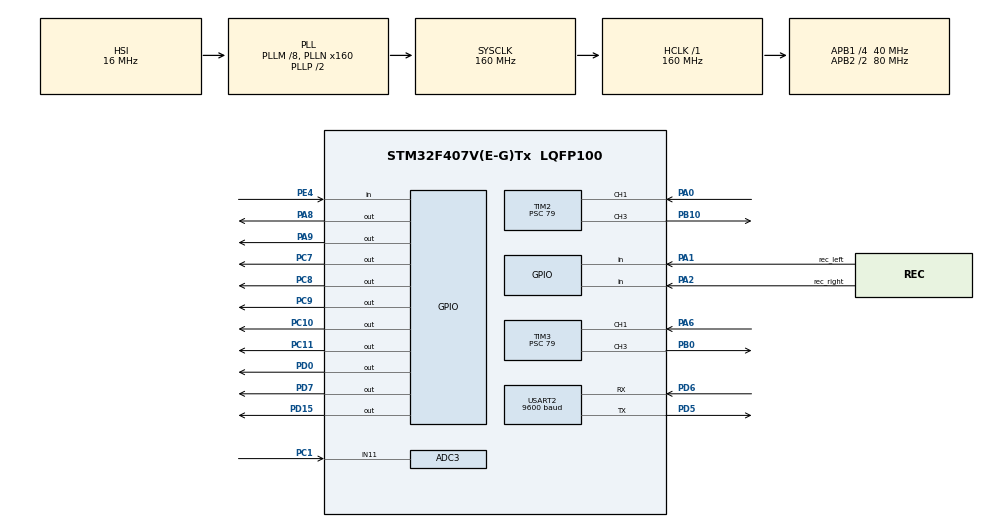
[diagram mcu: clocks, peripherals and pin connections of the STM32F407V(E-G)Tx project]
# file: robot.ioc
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ADC3.Channel-2\#ChannelRegularConversion=ADC_CHANNEL_11
ADC3.ClockPrescaler=ADC_CLOCK_SYNC_PCLK_DIV4
ADC3.ContinuousConvMode=ENABLE
ADC3.DMAContinuousRequests=DISABLE
ADC3.NbrOfConversionFlag=1
ADC3.Rank-2\#ChannelRegularConversion=1
ADC3.SamplingTime-2\#ChannelRegularConversion=ADC_SAMPLETIME_480CYCLES
ADC3.ScanConvMode=ENABLE
Dma.ADC3.0.Direction=DMA_PERIPH_TO_MEMORY
Dma.ADC3.0.FIFOMode=DMA_FIFOMODE_DISABLE
Dma.ADC3.0.Instance=DMA2_Stream1
Dma.ADC3.0.MemDataAlignment=DMA_MDATAALIGN_HALFWORD
Dma.ADC3.0.MemInc=DMA_MINC_ENABLE
Dma.ADC3.0.Mode=DMA_CIRCULAR
Dma.ADC3.0.PeriphDataAlignment=DMA_PDATAALIGN_HALFWORD
Dma.ADC3.0.PeriphInc=DMA_PINC_DISABLE
Dma.ADC3.0.Priority=DMA_PRIORITY_LOW
Dma.Request0=ADC3
Mcu.Family=STM32F4
Mcu.Name=STM32F407V(E-G)Tx
Mcu.Package=LQFP100
NVIC.DMA2_Stream1_IRQn=true\:0\:0\:false\:false\:true\:false\:true\:true
NVIC.PriorityGroup=NVIC_PRIORITYGROUP_4
NVIC.TIM1_UP_TIM10_IRQn=true\:2\:0\:true\:false\:true\:true\:true\:true
NVIC.USART2_IRQn=true\:3\:0\:true\:false\:true\:true\:true\:true
PA0-WKUP.Signal=S_TIM2_CH1_ETR
PA1.GPIO_Label=rec_left
PA1.Signal=GPIO_Input
PA13.Mode=Serial_Wire
PA13.Signal=SYS_JTMS-SWDIO
PA14.Mode=Serial_Wire
PA14.Signal=SYS_JTCK-SWCLK
PA2.GPIO_Label=rec_right
PA2.Signal=GPIO_Input
PA6.Signal=S_TIM3_CH1
PA8.Signal=GPIO_Output
PA9.Signal=GPIO_Output
PB0.Signal=S_TIM3_CH3
PB10.Signal=S_TIM2_CH3
PC1.Signal=ADCx_IN11
PC10.Signal=GPIO_Output
PC11.Signal=GPIO_Output
PC7.Signal=GPIO_Output
PC8.Signal=GPIO_Output
PC9.Signal=GPIO_Output
PD0.Signal=GPIO_Output
PD15.Signal=GPIO_Output
PD5.Mode=Asynchronous
PD5.Signal=USART2_TX
PD6.Mode=Asynchronous
PD6.Signal=USART2_RX
PD7.Signal=GPIO_Output
PE4.Signal=GPIO_Input
PH0-OSC_IN.Mode=HSE-External-Oscillator
PH0-OSC_IN.Signal=RCC_OSC_IN
PH1-OSC_OUT.Mode=HSE-External-Oscillator
PH1-OSC_OUT.Signal=RCC_OSC_OUT
ProjectManager.HeapSize=0x200
ProjectManager.StackSize=0x400
ProjectManager.TargetToolchain=STM32CubeIDE
RCC.48MHZClocksFreq_Value=80000000
RCC.AHBFreq_Value=160000000
RCC.APB1CLKDivider=RCC_HCLK_DIV4
RCC.APB1Freq_Value=40000000
RCC.APB1TimFreq_Value=80000000
RCC.APB2CLKDivider=RCC_HCLK_DIV2
RCC.APB2Freq_Value=80000000
RCC.APB2TimFreq_Value=160000000
RCC.CortexFreq_Value=160000000
RCC.HCLKFreq_Value=160000000
RCC.HSE_VALUE=25000000
RCC.HSI_VALUE=16000000
RCC.LSE_VALUE=32768
RCC.PLLM=8
RCC.PLLN=160
RCC.SYSCLKFreq_VALUE=160000000
RCC.SYSCLKSource=RCC_SYSCLKSOURCE_PLLCLK
RCC.VCOOutputFreq_Value=320000000
SH.ADCx_IN11.0=ADC3_IN11,IN11
SH.S_TIM2_CH1_ETR.0=TIM2_CH1,Input_Capture1_from_TI1
SH.S_TIM2_CH3.0=TIM2_CH3,PWM Generation3 CH3
SH.S_TIM3_CH1.0=TIM3_CH1,Input_Capture1_from_TI1
SH.S_TIM3_CH3.0=TIM3_CH3,PWM Generation3 CH3
TIM10.Period=49999
TIM10.Prescaler=15999
TIM2.Channel-Input_Capture1_from_TI1=TIM_CHANNEL_1
TIM2.Channel-Input_Capture2_from_TI1_63=TIM_CHANNEL_2
TIM2.Channel-PWM\ Generation3\ CH3=TIM_CHANNEL_3
TIM2.ICPolarity_CH1=TIM_INPUTCHANNELPOLARITY_RISING
TIM2.ICPolarity_CH2=TIM_INPUTCHANNELPOLARITY_FALLING
TIM2.Period=29999
TIM2.Prescaler=79
TIM2.Pulse-PWM\ Generation3\ CH3=10
TIM3.Channel-Input_Capture1_from_TI1=TIM_CHANNEL_1
TIM3.Channel-Input_Capture2_from_TI1_63=TIM_CHANNEL_2
TIM3.Channel-PWM\ Generation3\ CH3=TIM_CHANNEL_3
TIM3.ICPolarity_CH2=TIM_INPUTCHANNELPOLARITY_FALLING
TIM3.Period=29999
TIM3.Prescaler=79
TIM3.Pulse-PWM\ Generation3\ CH3=10
USART2.BaudRate=9600
USART2.VirtualMode=VM_ASYNC
VP_TIM10_VS_ClockSourceINT.Mode=Enable_Timer
VP_TIM2_VS_ClockSourceINT.Mode=Internal
VP_TIM2_VS_indirect_ch1.Mode=Input_Capture2_from_TI1_63
VP_TIM3_VS_ClockSourceINT.Mode=Internal
VP_TIM3_VS_indirect_ch1.Mode=Input_Capture2_from_TI1_63
board=custom

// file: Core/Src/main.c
/* USER CODE BEGIN Header */
/**
  ******************************************************************************
  * @file           : main.c
  * @brief          : Main program body
  ******************************************************************************
  * @attention
  *
  * <h2><center>&copy; Copyright (c) 2022 STMicroelectronics.
  * All rights reserved.</center></h2>
  *
  * This software component is licensed by ST under BSD 3-Clause license,
  * the "License"; You may not use this file except in compliance with the
  * License. You may obtain a copy of the License at:
  *                        opensource.org/licenses/BSD-3-Clause
  *
  ******************************************************************************
  */
/* USER CODE END Header */
#include "main.h"
#include "adc.h"
#include "dma.h"
#include "tim.h"
#include "usart.h"
#include "gpio.h"

/* USER CODE BEGIN Includes */
#include <stdio.h>
#include <stdlib.h>
#include <string.h>
#include <stdbool.h>
//#include <rc5_decode.h>
/* USER CODE END Includes */

/* USER CODE BEGIN PD */
#define BUFFER_LEN   1
/* USER CODE END PD */

/* USER CODE BEGIN PV */
uint32_t battery_adc = 0;
static int drive = 10;
static bool DOCKING = false;
static uint8_t RX_BUFFER[BUFFER_LEN] = {0};
static int speed = 0;
static float battery_voltage = 0;
static bool rec_left = false;
static bool rec_right = false;
static bool spin_right = false;
static bool spin_left = false;
static bool center = false;
static bool right = false;
static bool left = false;
static bool on_left = false;
static bool on_right = false;
static uint32_t distance_left = 0;
static uint32_t distance_right = 0;
static bool STATION = false;

/* USER CODE END PV */

void SystemClock_Config(void);

/* USER CODE BEGIN 0 */

//Funkcja umożliwiająca wysyłanie znaków przez uart za pomocą funkcji 'printf()'
int __io_putchar(int ch)
{
    if (ch == '\n')
    {
        uint8_t ch2 = '\r';
        HAL_UART_Transmit(&huart2, &ch2, 1, HAL_MAX_DELAY);
    }

    HAL_UART_Transmit(&huart2, (uint8_t*)&ch, 1, HAL_MAX_DELAY);
    return 1;
}

void HAL_TIM_PeriodElapsedCallback(TIM_HandleTypeDef *htim)
{
	//przerwanie od TIM 10 - co 5 sekund
	if(htim == &htim10)
	{
		HAL_GPIO_TogglePin(GPIOD, GPIO_PIN_15); //sygnalizacja nadawania
		printf("%lu\n", battery_adc);			//przesłanie stacji informacji o zmierzonym napięciu baterii
	}
}

//Funkcja wysyłająca wymuszająca w Arduino zwiększenie prędkości obrotu silników
void speed_plus(int i)
{
	int k = 0;
	for (k == 0; k++; k < i)
	{
		HAL_GPIO_WritePin(GPIOC, GPIO_PIN_10, GPIO_PIN_SET);
		HAL_GPIO_WritePin(GPIOC, GPIO_PIN_11, GPIO_PIN_RESET);
		HAL_Delay(50);
		HAL_GPIO_WritePin(GPIOC, GPIO_PIN_10, GPIO_PIN_RESET);
		HAL_Delay(50);
	}
}

//Funkcja wysyłająca wymuszająca w Arduino zmniejszenie prędkości obrotu silników
void speed_minus(int i)
{
	int k = 0;
	for (k == 0; k++; k < i)
	{
		HAL_GPIO_WritePin(GPIOC, GPIO_PIN_11, GPIO_PIN_SET);
		HAL_GPIO_WritePin(GPIOC, GPIO_PIN_10, GPIO_PIN_RESET);
		HAL_Delay(50);
		HAL_GPIO_WritePin(GPIOC, GPIO_PIN_11, GPIO_PIN_RESET);
		HAL_Delay(50);
	}
}

//Funkcja zatrzymująca silniki - zatrzymanie robota
void STOP(void)
{
	speed = 0;
	HAL_GPIO_WritePin(GPIOC, GPIO_PIN_11, GPIO_PIN_SET);
	HAL_GPIO_WritePin(GPIOC, GPIO_PIN_10, GPIO_PIN_SET);
}

//Przerwanie UART - odebranie danych
void HAL_UART_RxCpltCallback(UART_HandleTypeDef *huart)
{
	drive = atoi((char*)&RX_BUFFER[0]); 					//zapisanie odebranego znaku 'char' do zmiennej 'int'
	if (drive == 0)
		STOP();												//jeśli odebrano wartość '0' - bezwarunkowe zatrzymanie robota

	HAL_UART_Receive_IT(&huart2, RX_BUFFER, BUFFER_LEN);	//wlaczenie nasluchiwania na kanale UART
}

//Zestaw funkcji nadających kierunek i prędkość silnikom
void FORWARD(void){
	HAL_DAC_SetValue(&hdac, DAC_CHANNEL_1, DAC_ALIGN_12B_R, speed);
	HAL_GPIO_WritePin(GPIOC, GPIO_PIN_8, GPIO_PIN_RESET);	//1 przód
	HAL_GPIO_WritePin(GPIOC, GPIO_PIN_9, GPIO_PIN_RESET);	//2 przód
	HAL_GPIO_WritePin(GPIOA, GPIO_PIN_8, GPIO_PIN_RESET);	//3 przód
	HAL_GPIO_WritePin(GPIOC, GPIO_PIN_7, GPIO_PIN_RESET);	//4 przód
}
void LEFT(void){
	HAL_DAC_SetValue(&hdac, DAC_CHANNEL_1, DAC_ALIGN_12B_R, speed);
	HAL_GPIO_WritePin(GPIOC, GPIO_PIN_8, GPIO_PIN_SET);		//1 przód
	HAL_GPIO_WritePin(GPIOC, GPIO_PIN_9, GPIO_PIN_RESET);	//2 tył
	HAL_GPIO_WritePin(GPIOA, GPIO_PIN_8, GPIO_PIN_SET);		//3 przód
	HAL_GPIO_WritePin(GPIOC, GPIO_PIN_7, GPIO_PIN_RESET);	//4 tył
}
void RIGHT(void){
	HAL_DAC_SetValue(&hdac, DAC_CHANNEL_1, DAC_ALIGN_12B_R, speed);
	HAL_GPIO_WritePin(GPIOC, GPIO_PIN_8, GPIO_PIN_RESET);	//1 tył
	HAL_GPIO_WritePin(GPIOC, GPIO_PIN_9, GPIO_PIN_SET);		//2 przód
	HAL_GPIO_WritePin(GPIOA, GPIO_PIN_8, GPIO_PIN_RESET);	//3 tył
	HAL_GPIO_WritePin(GPIOC, GPIO_PIN_7, GPIO_PIN_SET);		//4 przód
}
void SPIN_R(void){
	HAL_DAC_SetValue(&hdac, DAC_CHANNEL_1, DAC_ALIGN_12B_R, speed);
	HAL_GPIO_WritePin(GPIOC, GPIO_PIN_8, GPIO_PIN_SET);		//1 przód
	HAL_GPIO_WritePin(GPIOC, GPIO_PIN_9, GPIO_PIN_RESET);	//2 tył
	HAL_GPIO_WritePin(GPIOA, GPIO_PIN_8, GPIO_PIN_RESET);	//3 tył
	HAL_GPIO_WritePin(GPIOC, GPIO_PIN_7, GPIO_PIN_SET);		//4 przód
}
void SPIN_L(void){
	HAL_DAC_SetValue(&hdac, DAC_CHANNEL_1, DAC_ALIGN_12B_R, speed);
	HAL_GPIO_WritePin(GPIOC, GPIO_PIN_8, GPIO_PIN_RESET);	//1 tył
	HAL_GPIO_WritePin(GPIOC, GPIO_PIN_9, GPIO_PIN_SET);		//2 przód
	HAL_GPIO_WritePin(GPIOA, GPIO_PIN_8, GPIO_PIN_SET);		//3 przód
	HAL_GPIO_WritePin(GPIOC, GPIO_PIN_7, GPIO_PIN_RESET);	//4 tył
}
void BACK(void){
	//HAL_DAC_SetValue(&hdac, DAC_CHANNEL_1, DAC_ALIGN_12B_R, speed);
	HAL_GPIO_WritePin(GPIOC, GPIO_PIN_8, GPIO_PIN_SET);	//1 tył
	HAL_GPIO_WritePin(GPIOC, GPIO_PIN_9, GPIO_PIN_SET);	//2 tył
	HAL_GPIO_WritePin(GPIOA, GPIO_PIN_8, GPIO_PIN_SET);	//3 tył
	HAL_GPIO_WritePin(GPIOC, GPIO_PIN_7, GPIO_PIN_SET);	//4 tył
}
/* USER CODE END 0 */

int main(void)
{

  /* MCU Configuration--------------------------------------------------------*/

  /* Reset of all peripherals, Initializes the Flash interface and the Systick. */
  HAL_Init();

  /* Configure the system clock */
  SystemClock_Config();

  /* Initialize all configured peripherals */
  MX_GPIO_Init();
  MX_DMA_Init();
  MX_TIM10_Init();
  MX_USART2_UART_Init();
  MX_ADC3_Init();
  MX_TIM2_Init();
  MX_TIM3_Init();
  /* USER CODE BEGIN 2 */

  HAL_ADC_Start_DMA(&hadc3, &battery_adc, 1);	//uruchomienie konwersji ADC z DMA

  HAL_TIM_Base_Start_IT(&htim10);				//wlaczenie przerwan od timera 10 - dioda określająca działanie programu
  HAL_TIM_IC_Start(&htim2, TIM_CHANNEL_1); 		//timer 2 - obsługuje lewy czujnik odległości HC-SR04
  HAL_TIM_IC_Start(&htim2, TIM_CHANNEL_2);
  HAL_TIM_PWM_Start(&htim2, TIM_CHANNEL_3);

  HAL_TIM_IC_Start(&htim3, TIM_CHANNEL_1);		//timer 3 - obsługuje prawy czujnik odległości HC-SR04
  HAL_TIM_IC_Start(&htim3, TIM_CHANNEL_2);
  HAL_TIM_PWM_Start(&htim3, TIM_CHANNEL_3);

  HAL_UART_Receive_IT(&huart2, RX_BUFFER, BUFFER_LEN);	//wlaczenie nasluchiwania na kanale UART
  /* USER CODE END 2 */

  /* Infinite loop */
  /* USER CODE BEGIN WHILE */
  uint8_t start1 = 0;
  uint8_t start2 = 0;
  uint8_t stop1 = 0;
  uint8_t stop2 = 0;

  while (1)
  {
	  /*--------------CZUJNIKI ODLEGLOSCI----------------*/
	  start1 = HAL_TIM_ReadCapturedValue(&htim2, TIM_CHANNEL_1);	//wystąpienie zbocza narastającego sygnału 'echo'
	  stop1 = HAL_TIM_ReadCapturedValue(&htim2, TIM_CHANNEL_2);		//wystąpienie zbocza opadającego sygnału 'echo'
	  distance_left = (stop1 - start1) / 58.0f;						//czas wystąpienia sygnału 'echo'

	  start2 = HAL_TIM_ReadCapturedValue(&htim3, TIM_CHANNEL_1);
	  stop2 = HAL_TIM_ReadCapturedValue(&htim3, TIM_CHANNEL_2);
	  distance_right = (stop2 - start2) / 58.0f;

	  /* sygnał przychodzący od odbiorników -------------------------------------------IR */
	  if (HAL_GPIO_ReadPin(rec_left_GPIO_Port, rec_left_Pin) == GPIO_PIN_RESET)
		  rec_left = true;
	  else
		  rec_left = false;

	  if (HAL_GPIO_ReadPin(rec_right_GPIO_Port, rec_right_Pin) == GPIO_PIN_RESET)
		  rec_right = true;
	  else
		  rec_right = false;

	  /*-----SWITCH DLA DANYCH ZE STACJI-------*/
	  switch(drive)
	  {
	  	  case 0:
	  		  STOP();				//zatrzymanie robota
	  		  drive = 10;
	  		  break;
	  	  case 1:
	  		  STATION = true;		//czujnik odległości stacji wykrył stację przed stykami
	  		  drive = 10;
	  		  break;
	  	  case 2:
			  STATION = false;		//czujnik odległości stacji wykrył oddalenie się robota od styków
			  drive = 10;
			  break;
	  	  case 3:
	  		  STOP(); //----------zmienic docking na docked
	  		  if (DOCKING == true)	//stacja wykryła napięcie na stykach - robot jest zadokowany do stacji
	  			  DOCKING = false;
	  		  drive = 10;
			  break;
	  	  case 4:
  		  	  STOP();
  		  	  if (DOCKING == false)	//stacja przestała wykrywać napięcie na stykach - robot odłączył się od stacji
	  	  	  {
  		  		  DOCKING = true;
  		  		  //reset pomocniczych zmiennych procesu dokowania
				  spin_right = false;
				  spin_left = false;
				  left = false;
				  center = false;
				  on_right = false;
			  }
  		  	  drive = 10;
			  break;
	  	case 5:
			  STOP();
			  if (DOCKING == false)	//stacja wymusza proces dokowania
				  DOCKING = true;
			  drive = 10;
			  break;
		  default:
			  break;
	  	  }

	  if (DOCKING == true)
	  {
		  if (rec_left == true && rec_right == true && distance_left < 12 && distance_right > distance_left && STATION == false)
		  {
			  on_left = true;
			  on_right = false;
			  left = false;
			  right = false;
			  spin_left = false;
			  spin_right = false;
			  center = false;
		  }
		  else if (rec_left == true && rec_right == true && distance_right < 12 && distance_left > distance_right && STATION == false)
		  {
			  on_left = false;
			  on_right = true;
			  left = false;
			  right = false;
			  spin_left = false;
			  spin_right = false;
			  center = false;
		  }

		  if (on_left == false && on_right == false)
		  {
			  //lewy TAK; prawy NIE + jest przy samej stacji + na wprost
			  if (rec_left == true && rec_right == false && STATION == true && left == false && distance_left < 12 && distance_right < 12)
			  {
				  left = true;
				  right = false;
				  spin_left = false;
				  spin_right = false;
				  center = false;
			  }
			  //lewy NIE; prawy TAK + jest przy samej stacji + na wprost
			  else if (rec_left == false && rec_right == true && STATION == true && right == false && distance_left < 12 && distance_right < 12)
			  {
				  left = false;
				  right = true;
				  spin_left = false;
				  spin_right = false;
				  center = false;
			  }
			  //lewy NIE; prawy NIE
			  else if (	(rec_left == false && spin_right == false && STATION == false) ||
					//lewy NIE; prawy TAK
					(rec_left == false && rec_right == true && spin_right == false && STATION == false) ||
					//lewy NIE; prawy TAK + jest przy samej stacji + nie na wprost
					(rec_left == false && rec_right == true && STATION == true && spin_right == false && distance_left > distance_right && distance_right < 12)||
					//lewy TAK; prawy NIE + jest przy samej stacji + nie na wprost
					(rec_left == true && rec_right == false && STATION == true && spin_right == false && distance_left > distance_right && distance_right < 12))
			  {
				  left = false;
				  right = false;
				  spin_left = false;
				  spin_right = true;
				  center = false;
			  }
			  //lewy TAK; prawy NIE
			  else if ( (rec_left == true && rec_right == false && spin_left == false && STATION == false) ||
					  //lewy TAK; prawy NIE + jest przy samej stacji + nie na wprost
					  (rec_left == true && rec_right == false && STATION == true && spin_left == false && distance_left < 12 && distance_right > distance_left)||
					  //lewy NIE; prawy TAK + jest przy samej stacji + nie na wprost
					  (rec_left == false && rec_right == true && STATION == true && spin_left == false && distance_left < 12 && distance_right > distance_left))
			  {
				  left = false;
				  right = false;
				  spin_left = true;
				  spin_right = false;
				  center = false;
			  }
			  //lewy TAK; prawy TAK
			  else if (rec_left == true && rec_right == true && center == false)
			  {
				  left = false;
				  right = false;
				  spin_left = false;
				  spin_right = false;
				  center = true;
			  }
		  }
		  else if(on_left == true)
		  {
			  if(	(rec_left == true && rec_right == true && spin_left == false && right == false) ||
					  	(rec_left == false && rec_right == false) )
			  {
				  right = false;
				  spin_left = true;
			  }
			  else if(rec_left == false && rec_right == true)
			  {
				  right = true;
				  spin_left = false;
			  }
			  else if(rec_left == true && rec_right == false && right == false)
			  {
				  //right = false;
				  spin_left = false;
				  on_left = false;
			  }
		  }
		  else if (on_right == true)
		  {
			  if(	(rec_left == true && rec_right == true && spin_right == false && left == false) ||
						(rec_left == false && rec_right == false) )
			  {
				  left = false;
				  spin_right = true;
			  }
			  else if(rec_left == true && rec_right == false)
			  {
				  left = true;
				  spin_right = false;
			  }
			  else if(rec_left == false && rec_right == true && left == false)
			  {
				  //left = false;
				  spin_right = false;
				  on_right = false;
			  }
		  }

		  if (center == true && distance_left < 12 && distance_right < 12 && on_left == false && on_right == false && STATION == true)
		  {
			  STOP();
		  }
		  else if (spin_left == true)
		  {
			  if (speed != 40)
			  {
				  STOP();
				  SPIN_L();
				  //zwiekszenie predkosci x4
				  speed = 40;
				  HAL_GPIO_WritePin(GPIOC, GPIO_PIN_10, GPIO_PIN_SET);
				  HAL_GPIO_WritePin(GPIOC, GPIO_PIN_11, GPIO_PIN_RESET);
				  HAL_Delay(100);
				  HAL_GPIO_WritePin(GPIOC, GPIO_PIN_10, GPIO_PIN_RESET);

				  HAL_Delay(50);
				  HAL_GPIO_WritePin(GPIOC, GPIO_PIN_10, GPIO_PIN_SET);
				  HAL_GPIO_WritePin(GPIOC, GPIO_PIN_11, GPIO_PIN_RESET);
				  HAL_Delay(100);
				  HAL_GPIO_WritePin(GPIOC, GPIO_PIN_10, GPIO_PIN_RESET);

				  HAL_Delay(50);
				  HAL_GPIO_WritePin(GPIOC, GPIO_PIN_10, GPIO_PIN_SET);
				  HAL_GPIO_WritePin(GPIOC, GPIO_PIN_11, GPIO_PIN_RESET);
				  HAL_Delay(100);
				  HAL_GPIO_WritePin(GPIOC, GPIO_PIN_10, GPIO_PIN_RESET);

				  HAL_Delay(50);
				  HAL_GPIO_WritePin(GPIOC, GPIO_PIN_10, GPIO_PIN_SET);
				  HAL_GPIO_WritePin(GPIOC, GPIO_PIN_11, GPIO_PIN_RESET);
				  HAL_Delay(100);
				  HAL_GPIO_WritePin(GPIOC, GPIO_PIN_10, GPIO_PIN_RESET);
			  }
		  }
		  else if (spin_right == true)
	  	  {
			  if (speed != 40)
			  {
				  STOP();
				  SPIN_R();
				  //zwiekszenie predkosci x4
				  speed = 40;
				  HAL_GPIO_WritePin(GPIOC, GPIO_PIN_10, GPIO_PIN_SET);
				  HAL_GPIO_WritePin(GPIOC, GPIO_PIN_11, GPIO_PIN_RESET);
				  HAL_Delay(100);
				  HAL_GPIO_WritePin(GPIOC, GPIO_PIN_10, GPIO_PIN_RESET);

				  HAL_Delay(50);
				  HAL_GPIO_WritePin(GPIOC, GPIO_PIN_10, GPIO_PIN_SET);
				  HAL_GPIO_WritePin(GPIOC, GPIO_PIN_11, GPIO_PIN_RESET);
				  HAL_Delay(100);
				  HAL_GPIO_WritePin(GPIOC, GPIO_PIN_10, GPIO_PIN_RESET);

				  HAL_Delay(50);
				  HAL_GPIO_WritePin(GPIOC, GPIO_PIN_10, GPIO_PIN_SET);
				  HAL_GPIO_WritePin(GPIOC, GPIO_PIN_11, GPIO_PIN_RESET);
				  HAL_Delay(100);
				  HAL_GPIO_WritePin(GPIOC, GPIO_PIN_10, GPIO_PIN_RESET);

				  HAL_Delay(50);
				  HAL_GPIO_WritePin(GPIOC, GPIO_PIN_10, GPIO_PIN_SET);
				  HAL_GPIO_WritePin(GPIOC, GPIO_PIN_11, GPIO_PIN_RESET);
				  HAL_Delay(100);
				  HAL_GPIO_WritePin(GPIOC, GPIO_PIN_10, GPIO_PIN_RESET);
			  }
	  	  }
		  else if (left == true)
		  {
			  if (speed != 40)
			  {
				  STOP();
				  LEFT();
				  //zwiekszenie predkosci x4
				  speed = 40;
				  HAL_GPIO_WritePin(GPIOC, GPIO_PIN_10, GPIO_PIN_SET);
				  HAL_GPIO_WritePin(GPIOC, GPIO_PIN_11, GPIO_PIN_RESET);
				  HAL_Delay(100);
				  HAL_GPIO_WritePin(GPIOC, GPIO_PIN_10, GPIO_PIN_RESET);

				  HAL_Delay(50);
				  HAL_GPIO_WritePin(GPIOC, GPIO_PIN_10, GPIO_PIN_SET);
				  HAL_GPIO_WritePin(GPIOC, GPIO_PIN_11, GPIO_PIN_RESET);
				  HAL_Delay(100);
				  HAL_GPIO_WritePin(GPIOC, GPIO_PIN_10, GPIO_PIN_RESET);

				  HAL_Delay(50);
				  HAL_GPIO_WritePin(GPIOC, GPIO_PIN_10, GPIO_PIN_SET);
				  HAL_GPIO_WritePin(GPIOC, GPIO_PIN_11, GPIO_PIN_RESET);
				  HAL_Delay(100);
				  HAL_GPIO_WritePin(GPIOC, GPIO_PIN_10, GPIO_PIN_RESET);

				  HAL_Delay(50);
				  HAL_GPIO_WritePin(GPIOC, GPIO_PIN_10, GPIO_PIN_SET);
				  HAL_GPIO_WritePin(GPIOC, GPIO_PIN_11, GPIO_PIN_RESET);
				  HAL_Delay(100);
				  HAL_GPIO_WritePin(GPIOC, GPIO_PIN_10, GPIO_PIN_RESET);
			  }
		  }
		  else if (right == true)
		  {
			  if (speed != 40)
			  {
				  STOP();
				  RIGHT();
				  //zwiekszenie predkosci x4
				  speed = 40;
				  HAL_GPIO_WritePin(GPIOC, GPIO_PIN_10, GPIO_PIN_SET);
				  HAL_GPIO_WritePin(GPIOC, GPIO_PIN_11, GPIO_PIN_RESET);
				  HAL_Delay(100);
				  HAL_GPIO_WritePin(GPIOC, GPIO_PIN_10, GPIO_PIN_RESET);

				  HAL_Delay(50);
				  HAL_GPIO_WritePin(GPIOC, GPIO_PIN_10, GPIO_PIN_SET);
				  HAL_GPIO_WritePin(GPIOC, GPIO_PIN_11, GPIO_PIN_RESET);
				  HAL_Delay(100);
				  HAL_GPIO_WritePin(GPIOC, GPIO_PIN_10, GPIO_PIN_RESET);

				  HAL_Delay(50);
				  HAL_GPIO_WritePin(GPIOC, GPIO_PIN_10, GPIO_PIN_SET);
				  HAL_GPIO_WritePin(GPIOC, GPIO_PIN_11, GPIO_PIN_RESET);
				  HAL_Delay(100);
				  HAL_GPIO_WritePin(GPIOC, GPIO_PIN_10, GPIO_PIN_RESET);

				  HAL_Delay(50);
				  HAL_GPIO_WritePin(GPIOC, GPIO_PIN_10, GPIO_PIN_SET);
				  HAL_GPIO_WritePin(GPIOC, GPIO_PIN_11, GPIO_PIN_RESET);
				  HAL_Delay(100);
				  HAL_GPIO_WritePin(GPIOC, GPIO_PIN_10, GPIO_PIN_RESET);
			  }
		  }
	  	  else if (center == true)
		  {
			  if (speed != 40)
			  {
				  STOP();
				  FORWARD();
				  //zwiekszenie predkosci x3
				  speed = 40;
				  HAL_GPIO_WritePin(GPIOC, GPIO_PIN_10, GPIO_PIN_SET);
				  HAL_GPIO_WritePin(GPIOC, GPIO_PIN_11, GPIO_PIN_RESET);
				  HAL_Delay(100);
				  HAL_GPIO_WritePin(GPIOC, GPIO_PIN_10, GPIO_PIN_RESET);

				  HAL_Delay(50);
				  HAL_GPIO_WritePin(GPIOC, GPIO_PIN_10, GPIO_PIN_SET);
				  HAL_GPIO_WritePin(GPIOC, GPIO_PIN_11, GPIO_PIN_RESET);
				  HAL_Delay(100);
				  HAL_GPIO_WritePin(GPIOC, GPIO_PIN_10, GPIO_PIN_RESET);

				  HAL_Delay(50);
				  HAL_GPIO_WritePin(GPIOC, GPIO_PIN_10, GPIO_PIN_SET);
				  HAL_GPIO_WritePin(GPIOC, GPIO_PIN_11, GPIO_PIN_RESET);
				  HAL_Delay(100);
				  HAL_GPIO_WritePin(GPIOC, GPIO_PIN_10, GPIO_PIN_RESET);

				  HAL_Delay(50);
				  HAL_GPIO_WritePin(GPIOC, GPIO_PIN_10, GPIO_PIN_SET);
				  HAL_GPIO_WritePin(GPIOC, GPIO_PIN_11, GPIO_PIN_RESET);
				  HAL_Delay(100);
				  HAL_GPIO_WritePin(GPIOC, GPIO_PIN_10, GPIO_PIN_RESET);
			  }
		  }

  	  }
    /* USER CODE END WHILE */

    /* USER CODE BEGIN 3 */
  }
  /**
    * @brief  Identify TIM clock
    * @param  None
    * @retval Timer clock
    */

  /* USER CODE END 3 */
}

void SystemClock_Config(void)
{
  RCC_OscInitTypeDef RCC_OscInitStruct = {0};
  RCC_ClkInitTypeDef RCC_ClkInitStruct = {0};

  /** Configure the main internal regulator output voltage
  */
  __HAL_RCC_PWR_CLK_ENABLE();
  __HAL_PWR_VOLTAGESCALING_CONFIG(PWR_REGULATOR_VOLTAGE_SCALE1);

  /** Initializes the RCC Oscillators according to the specified parameters
  * in the RCC_OscInitTypeDef structure.
  */
  RCC_OscInitStruct.OscillatorType = RCC_OSCILLATORTYPE_HSI;
  RCC_OscInitStruct.HSIState = RCC_HSI_ON;
  RCC_OscInitStruct.HSICalibrationValue = RCC_HSICALIBRATION_DEFAULT;
  RCC_OscInitStruct.PLL.PLLState = RCC_PLL_ON;
  RCC_OscInitStruct.PLL.PLLSource = RCC_PLLSOURCE_HSI;
  RCC_OscInitStruct.PLL.PLLM = 8;
  RCC_OscInitStruct.PLL.PLLN = 160;
  RCC_OscInitStruct.PLL.PLLP = RCC_PLLP_DIV2;
  RCC_OscInitStruct.PLL.PLLQ = 4;
  if (HAL_RCC_OscConfig(&RCC_OscInitStruct) != HAL_OK)
  {
    Error_Handler();
  }

  /** Initializes the CPU, AHB and APB buses clocks
  */
  RCC_ClkInitStruct.ClockType = RCC_CLOCKTYPE_HCLK|RCC_CLOCKTYPE_SYSCLK
                              |RCC_CLOCKTYPE_PCLK1|RCC_CLOCKTYPE_PCLK2;
  RCC_ClkInitStruct.SYSCLKSource = RCC_SYSCLKSOURCE_PLLCLK;
  RCC_ClkInitStruct.AHBCLKDivider = RCC_SYSCLK_DIV1;
  RCC_ClkInitStruct.APB1CLKDivider = RCC_HCLK_DIV4;
  RCC_ClkInitStruct.APB2CLKDivider = RCC_HCLK_DIV2;

  if (HAL_RCC_ClockConfig(&RCC_ClkInitStruct, FLASH_LATENCY_5) != HAL_OK)
  {
    Error_Handler();
  }
}

void Error_Handler(void)
{
  __disable_irq();
  while (1)
  {
  }
}
